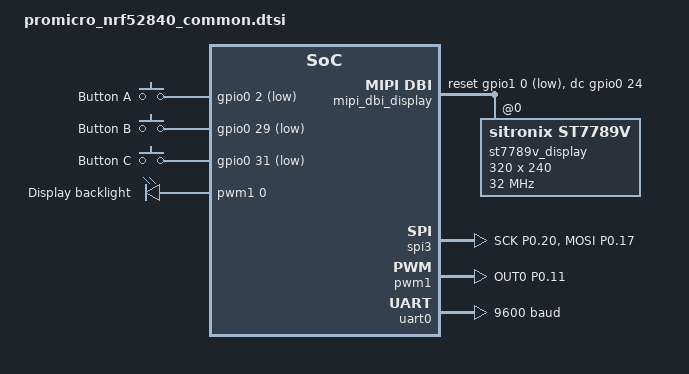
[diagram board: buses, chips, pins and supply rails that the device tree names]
/*
 * Pro Micro nRF52840 (SuperMini / nice!nano compatible) board customisation
 * for DJI-Remote-nRFConnect.
 *
 * Pin map (see docs/hardware-promicro-nrf52840.md):
 *
 *   Display (ST7789V, SPIM3 @ 32 MHz)
 *     SCK    P0.20    MOSI   P0.17    CS  P0.22
 *     DC     P0.24    RESET  P1.00    BL  P0.11 (PWM1 ch0)
 *   GPS (UART0, 9600 8N1)
 *     TX ->  P0.09    RX <-  P0.10
 *   Buttons (internal pull-up, active low)
 *     A P0.02          B P0.29          C P0.31
 *   Status LED
 *     P0.15 (on-board red LED)
 *
 * Free for future use: P0.06 P0.08 P1.04 P1.06 P1.11 P1.13 P1.15
 */

#include <zephyr/dt-bindings/mipi_dbi/mipi_dbi.h>
#include <zephyr/dt-bindings/input/input-event-codes.h>

/ {
	chosen {
		zephyr,display = &st7789v_display;
	};

	/*
	 * Buttons A/B/C -- same roles as the internal M5Stack Basic buttons
	 * in the original project (A = shutter, B = next, C = options).
	 */
	buttons {
		compatible = "gpio-keys";

		button_a: button_a {
			gpios = <&gpio0 2 (GPIO_PULL_UP | GPIO_ACTIVE_LOW)>;
			label = "Button A";
			zephyr,code = <INPUT_KEY_0>;
		};

		button_b: button_b {
			gpios = <&gpio0 29 (GPIO_PULL_UP | GPIO_ACTIVE_LOW)>;
			label = "Button B";
			zephyr,code = <INPUT_KEY_1>;
		};

		button_c: button_c {
			gpios = <&gpio0 31 (GPIO_PULL_UP | GPIO_ACTIVE_LOW)>;
			label = "Button C";
			zephyr,code = <INPUT_KEY_2>;
		};
	};

	/* Display backlight -- replaces the ESP32 LEDC channel */
	pwmleds {
		compatible = "pwm-leds";

		display_bl: display_bl {
			pwms = <&pwm1 0 PWM_MSEC(1) PWM_POLARITY_NORMAL>;
			label = "Display backlight";
		};
	};

	mipi_dbi_display {
		compatible = "zephyr,mipi-dbi-spi";
		spi-dev = <&spi3>;
		dc-gpios = <&gpio0 24 GPIO_ACTIVE_HIGH>;
		reset-gpios = <&gpio1 0 GPIO_ACTIVE_LOW>;
		write-only;
		#address-cells = <1>;
		#size-cells = <0>;

		/*
		 * 2.0"/2.4" 240x320 ST7789V panel driven in landscape
		 * (320x240) to match the original M5Stack Basic layout.
		 * mdac = MV | MX -> row/column exchange + column mirror.
		 */
		st7789v_display: st7789v@0 {
			compatible = "sitronix,st7789v";
			reg = <0>;
			mipi-max-frequency = <32000000>;
			mipi-mode = "MIPI_DBI_MODE_SPI_4WIRE";
			width = <320>;
			height = <240>;
			x-offset = <0>;
			y-offset = <0>;
			vcom = <0x19>;
			gctrl = <0x35>;
			vrhs = <0x12>;
			vdvs = <0x20>;
			mdac = <0x60>;
			gamma = <0x01>;
			colmod = <0x05>;
			lcm = <0x2c>;
			porch-param = [0c 0c 00 33 33];
			cmd2en-param = [5a 69 02 01];
			pwctrl1-param = [a4 a1];
			pvgam-param = [d0 04 0d 11 13 2b 3f 54 4c 18 0d 0b 1f 23];
			nvgam-param = [d0 04 0c 11 13 2c 3f 44 51 2f 1f 1f 20 23];
			ram-param = [00 f0];
			rgb-param = [cd 08 14];
		};
	};

	aliases {
		btn-a = &button_a;
		btn-b = &button_b;
		btn-c = &button_c;
		display-bl = &display_bl;
		gps-uart = &uart0;
		status-led = &led0;
	};
};

&pinctrl {
	/* SPIM3 -- display, write only, no MISO */
	spi3_default: spi3_default {
		group1 {
			psels = <NRF_PSEL(SPIM_SCK, 0, 20)>,
				<NRF_PSEL(SPIM_MOSI, 0, 17)>;
			nordic,drive-mode = <NRF_DRIVE_H0H1>;
		};
	};

	spi3_sleep: spi3_sleep {
		group1 {
			psels = <NRF_PSEL(SPIM_SCK, 0, 20)>,
				<NRF_PSEL(SPIM_MOSI, 0, 17)>;
			low-power-enable;
		};
	};

	/* PWM1 -- display backlight */
	pwm1_default: pwm1_default {
		group1 {
			psels = <NRF_PSEL(PWM_OUT0, 0, 11)>;
		};
	};

	pwm1_sleep: pwm1_sleep {
		group1 {
			psels = <NRF_PSEL(PWM_OUT0, 0, 11)>;
			low-power-enable;
		};
	};
};

&spi3 {
	compatible = "nordic,nrf-spim";
	status = "okay";
	cs-gpios = <&gpio0 22 GPIO_ACTIVE_LOW>;
	pinctrl-0 = <&spi3_default>;
	pinctrl-1 = <&spi3_sleep>;
	pinctrl-names = "default", "sleep";
};

&pwm1 {
	status = "okay";
	pinctrl-0 = <&pwm1_default>;
	pinctrl-1 = <&pwm1_sleep>;
	pinctrl-names = "default", "sleep";
};

/* UART0 is free for the GPS module -- the console runs over USB CDC ACM */
&uart0 {
	current-speed = <9600>;
};

/* Not used -- frees P1.00 / P0.11 (i2c0) and P1.04 / P1.06 (i2c1) */
&i2c0 {
	status = "disabled";
};

&i2c1 {
	status = "disabled";
};

/* Not used -- frees P1.01 / P1.02 / P1.07 */
&spi2 {
	status = "disabled";
};
